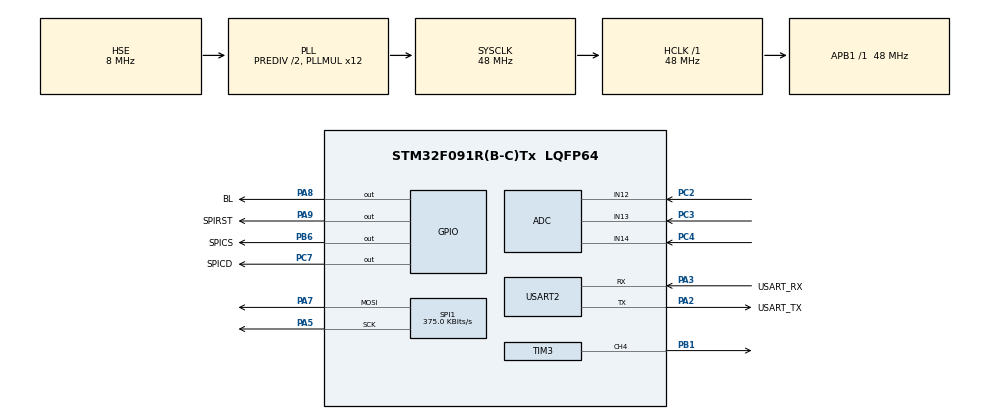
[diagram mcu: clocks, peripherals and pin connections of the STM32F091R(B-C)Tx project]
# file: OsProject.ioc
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ADC.ContinuousConvMode=ENABLE
ADC.DMAContinuousRequests=ENABLE
ADC.SamplingTime=ADC_SAMPLETIME_239CYCLES_5
Dma.ADC.0.Direction=DMA_PERIPH_TO_MEMORY
Dma.ADC.0.Instance=DMA1_Channel1
Dma.ADC.0.MemDataAlignment=DMA_MDATAALIGN_WORD
Dma.ADC.0.MemInc=DMA_MINC_ENABLE
Dma.ADC.0.Mode=DMA_CIRCULAR
Dma.ADC.0.PeriphDataAlignment=DMA_PDATAALIGN_WORD
Dma.ADC.0.PeriphInc=DMA_PINC_DISABLE
Dma.ADC.0.Priority=DMA_PRIORITY_VERY_HIGH
Dma.Request0=ADC
Dma.Request1=TIM3_CH4/UP
Dma.TIM3_CH4/UP.1.Direction=DMA_MEMORY_TO_PERIPH
Dma.TIM3_CH4/UP.1.Instance=DMA1_Channel3
Dma.TIM3_CH4/UP.1.MemDataAlignment=DMA_MDATAALIGN_HALFWORD
Dma.TIM3_CH4/UP.1.MemInc=DMA_MINC_ENABLE
Dma.TIM3_CH4/UP.1.Mode=DMA_NORMAL
Dma.TIM3_CH4/UP.1.PeriphDataAlignment=DMA_PDATAALIGN_HALFWORD
Dma.TIM3_CH4/UP.1.PeriphInc=DMA_PINC_DISABLE
Dma.TIM3_CH4/UP.1.Priority=DMA_PRIORITY_LOW
FREERTOS.Tasks01=Servo,24,128,Task_Servo,Default,NULL,Dynamic,NULL,NULL;Joystick,24,128,Task_Joystick,Default,NULL,Dynamic,NULL,NULL;LCD,24,128,Task_LCD,Default,NULL,Dynamic,NULL,NULL;Counter,24,128,Task_CounterUp,Default,NULL,Dynamic,NULL,NULL
FREERTOS.configTIMER_TASK_PRIORITY=6
FREERTOS.configUSE_NEWLIB_REENTRANT=1
Mcu.Family=STM32F0
Mcu.Name=STM32F091R(B-C)Tx
Mcu.Package=LQFP64
NVIC.DMA1_Ch1_IRQn=true\:3\:0\:false\:false\:true\:true\:false\:true\:true
NVIC.DMA1_Ch2_3_DMA2_Ch1_2_IRQn=true\:3\:0\:false\:false\:true\:true\:false\:true\:true
PA13.GPIO_Label=TMS
PA13.Mode=Serial_Wire
PA13.Signal=SYS_SWDIO
PA14.GPIO_Label=TCK
PA14.Mode=Serial_Wire
PA14.Signal=SYS_SWCLK
PA2.GPIO_Label=USART_TX
PA2.GPIO_Mode=GPIO_MODE_AF_PP
PA2.GPIO_PuPd=GPIO_NOPULL
PA2.GPIO_Speed=GPIO_SPEED_FREQ_LOW
PA2.Mode=Asynchronous
PA2.Signal=USART2_TX
PA3.GPIO_Label=USART_RX
PA3.GPIO_Mode=GPIO_MODE_AF_PP
PA3.GPIO_PuPd=GPIO_NOPULL
PA3.GPIO_Speed=GPIO_SPEED_FREQ_LOW
PA3.Mode=Asynchronous
PA3.Signal=USART2_RX
PA5.Mode=TX_Only_Simplex_Unidirect_Master
PA5.Signal=SPI1_SCK
PA7.Mode=TX_Only_Simplex_Unidirect_Master
PA7.Signal=SPI1_MOSI
PA8.GPIO_Label=BL
PA8.Signal=GPIO_Output
PA9.GPIO_Label=SPIRST
PA9.Signal=GPIO_Output
PB1.Signal=S_TIM3_CH4
PB6.GPIO_Label=SPICS
PB6.Signal=GPIO_Output
PC14OSC32_IN.Signal=RCC_OSC32_IN
PC15OSC32_OUT.Signal=RCC_OSC32_OUT
PC2.Mode=IN12
PC2.Signal=ADC_IN12
PC3.Mode=IN13
PC3.Signal=ADC_IN13
PC4.Mode=IN14
PC4.Signal=ADC_IN14
PC7.GPIO_Label=SPICD
PC7.PinState=GPIO_PIN_SET
PC7.Signal=GPIO_Output
PF0-OSC_IN.Mode=HSE-External-Oscillator
PF0-OSC_IN.Signal=RCC_OSC_IN
PF1-OSC_OUT.Mode=HSE-External-Oscillator
PF1-OSC_OUT.Signal=RCC_OSC_OUT
ProjectManager.HeapSize=0x200
ProjectManager.StackSize=0x400
ProjectManager.TargetToolchain=STM32CubeIDE
RCC.AHBFreq_Value=48000000
RCC.APB1Freq_Value=48000000
RCC.APB1TimFreq_Value=48000000
RCC.FLatency-AdvancedSettings=FLASH_LATENCY_1
RCC.HCLKFreq_Value=48000000
RCC.PLLDivider=RCC_PREDIV_DIV2
RCC.PLLMUL=RCC_PLL_MUL12
RCC.PLLSourceVirtual=RCC_PLLSOURCE_HSE
RCC.PREFETCH_ENABLE-AdvancedSettings=1
RCC.SYSCLKFreq_VALUE=48000000
RCC.SYSCLKSource=RCC_SYSCLKSOURCE_PLLCLK
SH.S_TIM3_CH4.0=TIM3_CH4,PWM Generation4 CH4
SPI1.BaudRatePrescaler=SPI_BAUDRATEPRESCALER_128
SPI1.CalculateBaudRate=375.0 KBits/s
SPI1.DataSize=SPI_DATASIZE_8BIT
SPI1.Direction=SPI_DIRECTION_2LINES
SPI1.Mode=SPI_MODE_MASTER
SPI1.VirtualType=VM_MASTER
TIM3.Channel-PWM\ Generation4\ CH4=TIM_CHANNEL_4
TIM3.Period=20000-1
TIM3.Prescaler=48-1
USART2.VirtualMode=VM_ASYNC
USART2.VirtualMode-Asynchronous=VM_ASYNC
VP_FREERTOS_VS_CMSIS_V2.Mode=CMSIS_V2
VP_TIM3_VS_ClockSourceINT.Mode=Internal
board=NUCLEO-F091RC

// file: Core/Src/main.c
/* USER CODE BEGIN Header */
/**
 ******************************************************************************
 * @file           : main.c
 * @brief          : Main program body
 ******************************************************************************
 * @attention
 *
 * Copyright (c) 2023 STMicroelectronics.
 * All rights reserved.
 *
 * This software is licensed under terms that can be found in the LICENSE file
 * in the root directory of this software component.
 * If no LICENSE file comes with this software, it is provided AS-IS.
 *
 ******************************************************************************
 */
/* USER CODE END Header */
#include "main.h"
#include "cmsis_os.h"

/* USER CODE BEGIN Includes */
#include "lcd_st7565_pinconf.h"
#include "lcd_st7565.h"
#include "font.h"
#include "function_display.h"
#include "function_servo.h"
/* USER CODE END Includes */

/* USER CODE BEGIN PD */

#define DOWN 500							   // Pragul inferior inferior de lucru
#define UP 3900								   // Pragul superior de lucru
#define JOYSTICK_X averaged_ADC_values[0]	   // Joystick Sus-Jos
#define JOYSTICK_Y averaged_ADC_values[1]	   // Joystick Dreapta-Stanga
#define JOYSTICK_BUTTON averaged_ADC_values[2] // Joystick Apasare

#define ADC_COUNT 3
#define BUFFER_SIZE 10
/* USER CODE END PD */

ADC_HandleTypeDef hadc;
DMA_HandleTypeDef hdma_adc;

SPI_HandleTypeDef hspi1;

TIM_HandleTypeDef htim3;
DMA_HandleTypeDef hdma_tim3_ch4_up;

UART_HandleTypeDef huart2;

/* Definitions for Servo */
osThreadId_t ServoHandle;
const osThreadAttr_t Servo_attributes = {
	.name = "Servo",
	.stack_size = 128 * 4,
	.priority = (osPriority_t)osPriorityNormal,
};
/* Definitions for Joystick */
osThreadId_t JoystickHandle;
const osThreadAttr_t Joystick_attributes = {
	.name = "Joystick",
	.stack_size =
		128 * 4,
	.priority = (osPriority_t)osPriorityNormal,
};
/* Definitions for LCD */
osThreadId_t LCDHandle;
const osThreadAttr_t LCD_attributes = {
	.name = "LCD",
	.stack_size = 128 * 4,
	.priority = (osPriority_t)osPriorityNormal,
};
/* Definitions for Counter */
osThreadId_t CounterHandle;
const osThreadAttr_t Counter_attributes = {
	.name = "Counter",
	.stack_size = 128 * 4,
	.priority = (osPriority_t)osPriorityNormal,
};

void SystemClock_Config(void);
static void MX_GPIO_Init(void);
static void MX_DMA_Init(void);
static void MX_USART2_UART_Init(void);
static void MX_ADC_Init(void);
static void MX_TIM3_Init(void);
static void MX_SPI1_Init(void);
void Task_Servo(void *argument);
void Task_Joystick(void *argument);
void Task_LCD(void *argument);
void Task_CounterUp(void *argument);

/* USER CODE BEGIN 0 */

uint32_t current_speed = 0;		  // Numar treapta viteza curenta
uint32_t previous_speed = 0;	  // Retine treapta anterioara de viteza
uint32_t change_speed = 1;		  // Semnal pentru incrementarea treptelor de viteza
uint32_t averaged_ADC_values[3];  // Stocheaza valorile mediate ale ADC-ului
uint32_t instant_ADC_values[3];	  // Stocheaza valorile instante citite de la ADC
uint32_t lucru_in_trepte = 0;	  // Flag pentru lucrul in trepte de viteza
uint32_t servo_mode = 0;		  // Seteaza modul de lucru servo
uint32_t display_mode = 0; // Seteaza modul de lucru display

/////////////// Codificare mod_lucru_sistem ///////////////
/// 			0 - idle/stop/reset					    ///
/// 			1 - wipe x1							    ///
/// 			2 - lucru in trepte, treapta++          ///
/// 			3 - lucru in trepte, treapta--          ///
/// 			4 - parbriz                             ///
/// 			5 - luneta								///
///////////////////////////////////////////////////////////

int system_initialized = 0; // Opreste orice operatie a servomotorului si a displayului pana cand sistemul nu a fost initializat
int timer = 0;				// Timer incrementat in Task-ul TimerUp pentru diferitele moduri de lucru cu servomotorul
int aux_timer = 0;			// Timer incrementat in Task-ul TimerUp pentru blocarea/stoparea incrementarii/decrementarii accidentale a treptelor de viteza
int abort_signal = 0;		// Semanl de abort folosit pentru oprirea fortata a modurilor de lucru
int stop = 0;				// Semnal de stop pentru spalare parbriz/luneta in timpul lucrului in trepte
int is_first_swipe = 1;		// Asigura prima stergere instanta

void system_init()
{
	// Porneste PWM pe timer 3 canal 4 (pin PB1)
	HAL_TIM_PWM_Start(&htim3, TIM_CHANNEL_4);
	// Initializeaza ADC-ul si ii stocheaza valorile citite instante
	HAL_ADC_Start_DMA(&hadc, instant_ADC_values, 3);

	// Se initializeaza display-ul si se activeaza backlight-ul
	st7565_init();
	st7565_backlight_enable();

	timer = 0;
	system_initialized = Display_start_screen(&timer);
}
/* USER CODE END 0 */

int main(void)
{

	/* MCU Configuration--------------------------------------------------------*/

	/* Reset of all peripherals, Initializes the Flash interface and the Systick. */
	HAL_Init();

	/* Configure the system clock */
	SystemClock_Config();

	/* Initialize all configured peripherals */
	MX_GPIO_Init();
	MX_DMA_Init();
	MX_USART2_UART_Init();
	MX_ADC_Init();
	MX_TIM3_Init();
	MX_SPI1_Init();

	/* Init scheduler */
	osKernelInitialize();

	/* Create the thread(s) */
	/* creation of Servo */
	ServoHandle = osThreadNew(Task_Servo, NULL, &Servo_attributes);

	/* creation of Joystick */
	JoystickHandle = osThreadNew(Task_Joystick, NULL, &Joystick_attributes);

	/* creation of LCD */
	LCDHandle = osThreadNew(Task_LCD, NULL, &LCD_attributes);

	/* creation of Counter */
	CounterHandle = osThreadNew(Task_CounterUp, NULL, &Counter_attributes);

	/* Start scheduler */
	osKernelStart();

	/* We should never get here as control is now taken by the scheduler */
	/* Infinite loop */
	while (1)
	{

	}
}

void SystemClock_Config(void)
{
	RCC_OscInitTypeDef RCC_OscInitStruct = {0};
	RCC_ClkInitTypeDef RCC_ClkInitStruct = {0};
	RCC_PeriphCLKInitTypeDef PeriphClkInit = {0};

	/** Initializes the RCC Oscillators according to the specified parameters
	 * in the RCC_OscInitTypeDef structure.
	 */
	RCC_OscInitStruct.OscillatorType = RCC_OSCILLATORTYPE_HSI14 | RCC_OSCILLATORTYPE_HSE;
	RCC_OscInitStruct.HSEState = RCC_HSE_ON;
	RCC_OscInitStruct.HSI14State = RCC_HSI14_ON;
	RCC_OscInitStruct.HSI14CalibrationValue = 16;
	RCC_OscInitStruct.PLL.PLLState = RCC_PLL_ON;
	RCC_OscInitStruct.PLL.PLLSource = RCC_PLLSOURCE_HSE;
	RCC_OscInitStruct.PLL.PLLMUL = RCC_PLL_MUL12;
	RCC_OscInitStruct.PLL.PREDIV = RCC_PREDIV_DIV2;
	if (HAL_RCC_OscConfig(&RCC_OscInitStruct) != HAL_OK)
	{
		Error_Handler();
	}

	/** Initializes the CPU, AHB and APB buses clocks
	 */
	RCC_ClkInitStruct.ClockType = RCC_CLOCKTYPE_HCLK | RCC_CLOCKTYPE_SYSCLK | RCC_CLOCKTYPE_PCLK1;
	RCC_ClkInitStruct.SYSCLKSource = RCC_SYSCLKSOURCE_PLLCLK;
	RCC_ClkInitStruct.AHBCLKDivider = RCC_SYSCLK_DIV1;
	RCC_ClkInitStruct.APB1CLKDivider = RCC_HCLK_DIV1;

	if (HAL_RCC_ClockConfig(&RCC_ClkInitStruct, FLASH_LATENCY_1) != HAL_OK)
	{
		Error_Handler();
	}
	PeriphClkInit.PeriphClockSelection = RCC_PERIPHCLK_USART2;
	PeriphClkInit.Usart2ClockSelection = RCC_USART2CLKSOURCE_PCLK1;
	if (HAL_RCCEx_PeriphCLKConfig(&PeriphClkInit) != HAL_OK)
	{
		Error_Handler();
	}
}

static void MX_ADC_Init(void)
{

	ADC_ChannelConfTypeDef sConfig = {0};

	/** Configure the global features of the ADC (Clock, Resolution, Data Alignment and number of conversion)
	 */
	hadc.Instance = ADC1;
	hadc.Init.ClockPrescaler = ADC_CLOCK_ASYNC_DIV1;
	hadc.Init.Resolution = ADC_RESOLUTION_12B;
	hadc.Init.DataAlign = ADC_DATAALIGN_RIGHT;
	hadc.Init.ScanConvMode = ADC_SCAN_DIRECTION_FORWARD;
	hadc.Init.EOCSelection = ADC_EOC_SINGLE_CONV;
	hadc.Init.LowPowerAutoWait = DISABLE;
	hadc.Init.LowPowerAutoPowerOff = DISABLE;
	hadc.Init.ContinuousConvMode = ENABLE;
	hadc.Init.DiscontinuousConvMode = DISABLE;
	hadc.Init.ExternalTrigConv = ADC_SOFTWARE_START;
	hadc.Init.ExternalTrigConvEdge = ADC_EXTERNALTRIGCONVEDGE_NONE;
	hadc.Init.DMAContinuousRequests = ENABLE;
	hadc.Init.Overrun = ADC_OVR_DATA_PRESERVED;
	if (HAL_ADC_Init(&hadc) != HAL_OK)
	{
		Error_Handler();
	}

	/** Configure for the selected ADC regular channel to be converted.
	 */
	sConfig.Channel = ADC_CHANNEL_12;
	sConfig.Rank = ADC_RANK_CHANNEL_NUMBER;
	sConfig.SamplingTime = ADC_SAMPLETIME_239CYCLES_5;
	if (HAL_ADC_ConfigChannel(&hadc, &sConfig) != HAL_OK)
	{
		Error_Handler();
	}

	/** Configure for the selected ADC regular channel to be converted.
	 */
	sConfig.Channel = ADC_CHANNEL_13;
	if (HAL_ADC_ConfigChannel(&hadc, &sConfig) != HAL_OK)
	{
		Error_Handler();
	}

	/** Configure for the selected ADC regular channel to be converted.
	 */
	sConfig.Channel = ADC_CHANNEL_14;
	if (HAL_ADC_ConfigChannel(&hadc, &sConfig) != HAL_OK)
	{
		Error_Handler();
	}
}

static void MX_SPI1_Init(void)
{

	/* SPI1 parameter configuration*/
	hspi1.Instance = SPI1;
	hspi1.Init.Mode = SPI_MODE_MASTER;
	hspi1.Init.Direction = SPI_DIRECTION_2LINES;
	hspi1.Init.DataSize = SPI_DATASIZE_8BIT;
	hspi1.Init.CLKPolarity = SPI_POLARITY_LOW;
	hspi1.Init.CLKPhase = SPI_PHASE_1EDGE;
	hspi1.Init.NSS = SPI_NSS_SOFT;
	hspi1.Init.BaudRatePrescaler = SPI_BAUDRATEPRESCALER_128;
	hspi1.Init.FirstBit = SPI_FIRSTBIT_MSB;
	hspi1.Init.TIMode = SPI_TIMODE_DISABLE;
	hspi1.Init.CRCCalculation = SPI_CRCCALCULATION_DISABLE;
	hspi1.Init.CRCPolynomial = 7;
	hspi1.Init.CRCLength = SPI_CRC_LENGTH_DATASIZE;
	hspi1.Init.NSSPMode = SPI_NSS_PULSE_ENABLE;
	if (HAL_SPI_Init(&hspi1) != HAL_OK)
	{
		Error_Handler();
	}
}

static void MX_TIM3_Init(void)
{

	TIM_ClockConfigTypeDef sClockSourceConfig = {0};
	TIM_MasterConfigTypeDef sMasterConfig = {0};
	TIM_OC_InitTypeDef sConfigOC = {0};

	htim3.Instance = TIM3;
	htim3.Init.Prescaler = 48 - 1;
	htim3.Init.CounterMode = TIM_COUNTERMODE_UP;
	htim3.Init.Period = 20000 - 1;
	htim3.Init.ClockDivision = TIM_CLOCKDIVISION_DIV1;
	htim3.Init.AutoReloadPreload = TIM_AUTORELOAD_PRELOAD_DISABLE;
	if (HAL_TIM_Base_Init(&htim3) != HAL_OK)
	{
		Error_Handler();
	}
	sClockSourceConfig.ClockSource = TIM_CLOCKSOURCE_INTERNAL;
	if (HAL_TIM_ConfigClockSource(&htim3, &sClockSourceConfig) != HAL_OK)
	{
		Error_Handler();
	}
	if (HAL_TIM_PWM_Init(&htim3) != HAL_OK)
	{
		Error_Handler();
	}
	sMasterConfig.MasterOutputTrigger = TIM_TRGO_RESET;
	sMasterConfig.MasterSlaveMode = TIM_MASTERSLAVEMODE_DISABLE;
	if (HAL_TIMEx_MasterConfigSynchronization(&htim3, &sMasterConfig) != HAL_OK)
	{
		Error_Handler();
	}
	sConfigOC.OCMode = TIM_OCMODE_PWM1;
	sConfigOC.Pulse = 0;
	sConfigOC.OCPolarity = TIM_OCPOLARITY_HIGH;
	sConfigOC.OCFastMode = TIM_OCFAST_DISABLE;
	if (HAL_TIM_PWM_ConfigChannel(&htim3, &sConfigOC, TIM_CHANNEL_4) != HAL_OK)
	{
		Error_Handler();
	}
	HAL_TIM_MspPostInit(&htim3);
}

static void MX_USART2_UART_Init(void)
{

	huart2.Instance = USART2;
	huart2.Init.BaudRate = 115200;
	huart2.Init.WordLength = UART_WORDLENGTH_8B;
	huart2.Init.StopBits = UART_STOPBITS_1;
	huart2.Init.Parity = UART_PARITY_NONE;
	huart2.Init.Mode = UART_MODE_TX_RX;
	huart2.Init.HwFlowCtl = UART_HWCONTROL_NONE;
	huart2.Init.OverSampling = UART_OVERSAMPLING_16;
	huart2.Init.OneBitSampling = UART_ONE_BIT_SAMPLE_DISABLE;
	huart2.AdvancedInit.AdvFeatureInit = UART_ADVFEATURE_NO_INIT;
	if (HAL_UART_Init(&huart2) != HAL_OK)
	{
		Error_Handler();
	}
}

static void MX_DMA_Init(void)
{

	/* DMA controller clock enable */
	__HAL_RCC_DMA1_CLK_ENABLE();

	/* DMA interrupt init */
	/* DMA1_Ch1_IRQn interrupt configuration */
	HAL_NVIC_SetPriority(DMA1_Ch1_IRQn, 3, 0);
	HAL_NVIC_EnableIRQ(DMA1_Ch1_IRQn);
	/* DMA1_Ch2_3_DMA2_Ch1_2_IRQn interrupt configuration */
	HAL_NVIC_SetPriority(DMA1_Ch2_3_DMA2_Ch1_2_IRQn, 3, 0);
	HAL_NVIC_EnableIRQ(DMA1_Ch2_3_DMA2_Ch1_2_IRQn);
}

static void MX_GPIO_Init(void)
{
	GPIO_InitTypeDef GPIO_InitStruct = {0};

	/* GPIO Ports Clock Enable */
	__HAL_RCC_GPIOC_CLK_ENABLE();
	__HAL_RCC_GPIOF_CLK_ENABLE();
	__HAL_RCC_GPIOA_CLK_ENABLE();
	__HAL_RCC_GPIOB_CLK_ENABLE();

	/*Configure GPIO pin Output Level */
	HAL_GPIO_WritePin(SPICD_GPIO_Port, SPICD_Pin, GPIO_PIN_SET);

	/*Configure GPIO pin Output Level */
	HAL_GPIO_WritePin(GPIOA, BL_Pin | SPIRST_Pin, GPIO_PIN_RESET);

	/*Configure GPIO pin Output Level */
	HAL_GPIO_WritePin(SPICS_GPIO_Port, SPICS_Pin, GPIO_PIN_RESET);

	/*Configure GPIO pin : SPICD_Pin */
	GPIO_InitStruct.Pin = SPICD_Pin;
	GPIO_InitStruct.Mode = GPIO_MODE_OUTPUT_PP;
	GPIO_InitStruct.Pull = GPIO_NOPULL;
	GPIO_InitStruct.Speed = GPIO_SPEED_FREQ_LOW;
	HAL_GPIO_Init(SPICD_GPIO_Port, &GPIO_InitStruct);

	/*Configure GPIO pins : BL_Pin SPIRST_Pin */
	GPIO_InitStruct.Pin = BL_Pin | SPIRST_Pin;
	GPIO_InitStruct.Mode = GPIO_MODE_OUTPUT_PP;
	GPIO_InitStruct.Pull = GPIO_NOPULL;
	GPIO_InitStruct.Speed = GPIO_SPEED_FREQ_LOW;
	HAL_GPIO_Init(GPIOA, &GPIO_InitStruct);

	/*Configure GPIO pin : SPICS_Pin */
	GPIO_InitStruct.Pin = SPICS_Pin;
	GPIO_InitStruct.Mode = GPIO_MODE_OUTPUT_PP;
	GPIO_InitStruct.Pull = GPIO_NOPULL;
	GPIO_InitStruct.Speed = GPIO_SPEED_FREQ_LOW;
	HAL_GPIO_Init(SPICS_GPIO_Port, &GPIO_InitStruct);
}

void Task_Servo(void *argument)
{
	/* USER CODE BEGIN 5 */

	///////////////////////////////////////////////////////////////////////////////////////////////////////////////////////////////////////////////////////////////////////////////////////////////
	///////////////////////////////////////////////////////////////////////////////   Implementare Task Servomotor   //////////////////////////////////////////////////////////////////////////////
	///////////////////////////////////////////////////////////////////////////////////////////////////////////////////////////////////////////////////////////////////////////////////////////////
	if (!system_initialized)
	{
		system_init();
	}

	// Functie auxiliara pentru modul de lucru in trepte de viteza
	void speed_function()
	{
		switch (current_speed)
		{
		case 0:
			servo_mode = Servo_master_function(0, &timer, &abort_signal, &stop, &is_first_swipe);
			break;
		case 1:
			Servo_master_function(2, &timer, &abort_signal, &stop, &is_first_swipe);
			break;
		case 2:
			Servo_master_function(3, &timer, &abort_signal, &stop, &is_first_swipe);
			break;
		case 3:
			Servo_master_function(4, &timer, &abort_signal, &stop, &is_first_swipe);
			break;
		}
	}

	for (;;)
	{
		if (system_initialized == 1)
		{
			switch (servo_mode)
			{
			case 0:
				Servo_master_function(0, &timer, &abort_signal, &stop, &is_first_swipe);
				abort_signal = 0;
				is_first_swipe = 1;
				break;
			case 1: // wipe x1
				servo_mode = Servo_master_function(1, &timer, &abort_signal, &stop, &is_first_swipe);
				aux_timer = 0;
				while (aux_timer < 250)
				{
					continue;
				}
				display_mode = servo_mode;
				break;
			case 2: // lucru in trepte (cu incrementare)
				// Se verifica daca este necesara incrementarea treptei de viteza folosind semnalul schimba_treapta primit de la Joystick
				if (current_speed < 3 && change_speed == 1)
				{
					aux_timer = 0;	  // Reseteaza de fiecare data timer-ul
					current_speed++;  // Se incrementeaza treapta
					change_speed = 0; // Se reseteaza flag-ul
				}
				speed_function();
				is_first_swipe = 0;

				break;
			case 3: // lucru in trepte (cu decrementare)
				// Se verifica daca este necesara decrementarea treptei de viteza folosind semnalul schimba_treapta primit de la Joystick
				if (current_speed > 0 && change_speed == 1)
				{
					current_speed--; // Se decrementeaza treapta
					if (current_speed == 0)
						lucru_in_trepte = 0;
					change_speed = 0; // Se reseteaza flag-ul
				}
				speed_function();
				is_first_swipe = 0;
				break;
			case 4: // spalare
				servo_mode = Servo_master_function(5, &timer, &abort_signal, &stop, &is_first_swipe);
				display_mode = servo_mode;
				break;
			case 5: // intrerupere lucru in trepte -> spalare -> lucru in trepte
				Display_master_function(0);
				stop = 1;
				aux_timer = 0;
				while(aux_timer < 300);
				stop = 0;

				Servo_master_function(5, &timer, &abort_signal, &stop, &is_first_swipe);
				Display_master_function(display_mode);

				servo_mode = 2;
				display_mode = 2;
			}
		}
		osDelay(1);
	}
	///////////////////////////////////////////////////////////////////////////////////////////////////////////////////////////////////////////////////////////////////////////////////////////////
	////////////////////////////////////////////////////////////////////////////   End of Implementare Task Servomotor   //////////////////////////////////////////////////////////////////////////
	///////////////////////////////////////////////////////////////////////////////////////////////////////////////////////////////////////////////////////////////////////////////////////////////
	/* USER CODE END 5 */
}

void Task_Joystick(void *argument)
{
	/* USER CODE BEGIN Task_Joystick */

	///////////////////////////////////////////////////////////////////////////////////////////////////////////////////////////////////////////////////////////////////////////////////////////////
	///////////////////////////////////////////////////////////////////////////////   Implementare Task Joystick   ////////////////////////////////////////////////////////////////////////////////
	///////////////////////////////////////////////////////////////////////////////////////////////////////////////////////////////////////////////////////////////////////////////////////////////
	int adcBuffer[ADC_COUNT][BUFFER_SIZE] = {0};
	int sum[ADC_COUNT] = {0};
	int index = 0;

	void moving_average()
	{
		for (int i = 0; i < ADC_COUNT; i++)
		{
			sum[i] += instant_ADC_values[i] - adcBuffer[i][index];
			adcBuffer[i][index] = instant_ADC_values[i];

			if (sum[i] >= 0)
			{
				averaged_ADC_values[i] = sum[i] / BUFFER_SIZE;
			}
			else
			{
				averaged_ADC_values[i] = 0;
			}
		}
		index = (index + 1) % BUFFER_SIZE;
	}

	for (;;)
	{
		moving_average();

		if (system_initialized)
		{
			if (JOYSTICK_BUTTON <= DOWN)
			{
				servo_mode = 0; // Modul de lucru se trece in 0 (oprire/reset)
				display_mode = 0;
				abort_signal = 1;  // Semnalul de abort se face 1 pentru a oprii orice operatie
				current_speed = 0; // Se reseteaza treapta de viteza
				lucru_in_trepte = 0;
			}

			if (JOYSTICK_X <= DOWN && current_speed > 0) // Joystick Jos
			{
				servo_mode = 3;
				display_mode = 3;
				lucru_in_trepte = 1;
				if (aux_timer > 150)  // Se verifica daca a trecut timpul minim de 150ms pentru a nu se decrementa accidental de mai multe ori treapta de viteza
					change_speed = 1; // In cazul in care timpul minim a expirat, semnalul schimba_treapta se trece in 1 pentru a permite decrementarea treptei de viteza
			}
			else
			{
				if (JOYSTICK_X <= DOWN && current_speed == 0)
				{
					// Modul de lucru se trece in 1 (wipe x1)
					display_mode = 1;
					servo_mode = 1;
				}
			}

			if (JOYSTICK_X >= UP) // Joystick Sus
			{
				servo_mode = 2;
				display_mode = 2;
				lucru_in_trepte = 1;
				if (aux_timer > 150)  // Se verifica daca a trecut timpul minim de 150ms pentru a nu se incrementa accidental de mai multe ori treapta de viteza
					change_speed = 1; // In cazul in care timpul minim a expirat, semnalul schimba_treapta se trece in 1 pentru a permite incrementarea treptei de viteza
			}

			if (JOYSTICK_Y <= DOWN) // Joystick Stanga
			{
				if (lucru_in_trepte)
				{
					servo_mode = 5;
					display_mode = 4;
				}
				else
					servo_mode = 4;
				display_mode = 4;
			}

			if (JOYSTICK_Y >= UP) // Joystick Dreapta
			{
				if (lucru_in_trepte)
				{
					servo_mode = 5;
					display_mode = 5;
				}
				else
					servo_mode = 4;
				display_mode = 5;
			}
		}
		osDelay(1); // Task-ul se reapeleaza automat la 1ms
	}

	///////////////////////////////////////////////////////////////////////////////////////////////////////////////////////////////////////////////////////////////////////////////////////////////
	///////////////////////////////////////////////////////////////////////////////   End of Implementare Task Joystick   ////////////////////////////////////////////////////////////////////////////////
	///////////////////////////////////////////////////////////////////////////////////////////////////////////////////////////////////////////////////////////////////////////////////////////////
	/* USER CODE END Task_Joystick */
}

void Task_LCD(void *argument)
{
	/* USER CODE BEGIN Task_LCD */

	///////////////////////////////////////////////////////////////////////////////////////////////////////////////////////////////////////////////////////////////////////////////////////////////
	/////////////////////////////////////////////////////////////////////////////////   Implementare Task Display   ///////////////////////////////////////////////////////////////////////////////
	///////////////////////////////////////////////////////////////////////////////////////////////////////////////////////////////////////////////////////////////////////////////////////////////
	// Functie auxiliara pentru modul de lucru in trepte de viteza
	// Este apelata din interiorul for(;;) pe case-urile 2 si 3 ale switch-ului
	void speed_function_LCD()
	{
		switch (current_speed)
		{
		case 0:							// Case 0: se intra atunci cand treapta de viteza a ajuns la 0 si se doreste oprirea stergatorului
			Display_master_function(0); // Se apeleaza functia master Display_mod_lucru_Display() cu parametrul 0 (reset/oprire)
			break;
		case 1:							// Case 1: se intra atunci cand se ajunge la treapta 1 de viteza
			Display_master_function(2); // Se apeleaza functia master Display_mod_lucru_Display() cu parametrul 2 (treapta 1)
			break;
		case 2:							// Case 2: se intra atunci cand se ajunge la treapta 2 de viteza
			Display_master_function(3); // Se apeleaza functia master Display_mod_lucru_Display() cu parametrul 3 (treapta 2)
			break;
		case 3:							// Case 3: se intra atunci cand se ajunge la treapta 3 de viteza
			Display_master_function(4); // Se apeleaza functia master Display_mod_lucru_display() cu paramentrul 4 (treapta 4)
			break;
		}
	}

	for (;;)
	{
		if (system_initialized == 1)
		{
			switch (display_mode)
			{
			case 0:							// Case 0: modul idle/reset
				Display_master_function(0); // Se apeleaza functia master Display_mod_lucru_display() cu parametrul 0 (idle/reset)
				break;
			case 1:							// Case 1: modul wipe x1
				Display_master_function(1); // Se apeleaza functia master Display_mod_lucru_display() cu parametrul 1 (wipe x1)
				break;
			case 2:					  // Case 2: modul de lucru in trepte, cazul incrementare treapta de viteza
				speed_function_LCD(); // Se apeleaza functia lucru_in_trepte_LCD()
				break;
			case 3:					  // Case 3: modul de lucru in trepte, cazul decrementare treapta de viteza
				speed_function_LCD(); // Se apeleaza functia lucru_in_trepte_LCD()
				break;
			case 4:							// Case 4: modul spalare parbriz
				Display_master_function(5); // Se apeleaza functia master Display_mod_lucru_display() cu parametrul 4 (spalare parbriz)
				break;
			case 5:							// Case 5: modul spalare luneta
				Display_master_function(6); // Se apeleaza functia master Display_mod_lucru_display() cu parametrul 5 (spalare luneta)
				break;
			}
		}
		osDelay(1); // Task-ul se reapeleaza automat la 1ms
	}
	/* USER CODE END Task_LCD */
}

void Task_CounterUp(void *argument)
{
	/* USER CODE BEGIN Task_CounterUp */

	///////////////////////////////////////////////////////////////////////////////////////////////////////////////////////////////////////////////////////////////////////////////////////////////
	/////////////////////////////////////////////////////////////////////////////////   Implementare Task TimerUp   ///////////////////////////////////////////////////////////////////////////////
	///////////////////////////////////////////////////////////////////////////////////////////////////////////////////////////////////////////////////////////////////////////////////////////////
	for (;;)
	{
		timer++;	 // Incrementeaza timer pentru lucrul cu servomotorul
		aux_timer++; // Incrementeaza timer_trepte pentru evitarea incrementarii/decrementarii de mai multe ori a treptei de viteza

		osDelay(1); // Task-ul se reapeleaza la 1ms astfel ca ambele timere masoara in ms
	}
	/* USER CODE END Task_CounterUp */
}

void Error_Handler(void)
{
	__disable_irq();
	while (1)
	{
	}
}
